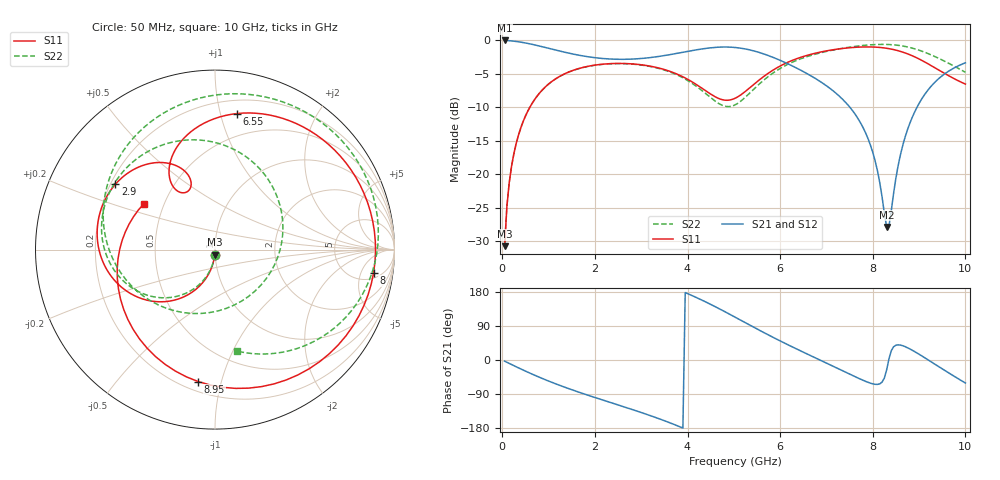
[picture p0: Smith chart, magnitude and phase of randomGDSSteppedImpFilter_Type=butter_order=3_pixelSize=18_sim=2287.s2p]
! freq	dB(S11)	phase(S11)	dB(S12)	phase(S12)
!  dB(S21)	phase(S21)	dB(S22)	phase(S22)
!S-par simulation data
#  GHz  S  DB  R 50
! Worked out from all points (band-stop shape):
!   200 points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, 50 MHz to 10 GHz, reference 50 ohm
!   highest |S21| = -0.01 dB at 50 MHz (marker M1); lowest = -27.9 dB at 8.3 GHz (marker M2)
!   |S21| within 3 dB of the highest: start of sweep to 6.011 GHz
!   lowest |S11| = -30.7 dB at 50 MHz (marker M3), VSWR 1.06, Z = 49.8 - j2.9 ohm
!   |S11| at or under -10 dB: start of sweep to 593.2 MHz
!   |S22| runs from -30.7 to -0.6 dB; largest |S21 - S12| = 0
!   S11 on the Smith chart (normalised r, x): 50 MHz: 1.00, -0.06; 2.9 GHz: 0.22, +0.28; 6.55 GHz: 0.31, +1.13; 8 GHz: 7, -9; 8.95 GHz: 0.26, -0.85; 10 GHz: 0.39, +0.25
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0.05  -30.71 -93.0  -0.01 -3.0  -0.01 -3.0  -30.71 -93.3
0.1  -24.71 -96.1  -0.02 -6.0  -0.02 -6.0  -24.72 -96.6
0.2  -18.78 -102.0  -0.08 -12.0  -0.08 -12.0  -18.79 -103.0
0.5  -11.29 -118.6  -0.38 -29.3  -0.38 -29.3  -11.29 -121.2
1.05  -6.23 -145.7  -1.26 -58.0  -1.26 -58.0  -6.24 -151.4
1.75  -4.02 -174.2  -2.33 -88.9  -2.33 -88.9  -4.03 175.3
2.9  -3.56 146.8  -2.75 -134.5  -2.75 -134.5  -3.59 123.6
3.4  -4.16 131.1  -2.37 -155.6  -2.37 -155.6  -4.22 97.5
4.35  -7.32 109.5  -1.23 155.8  -1.23 155.8  -7.70 24.0
5.05  -8.56 121.3  -1.07 111.6  -1.07 111.6  -9.54 -79.3
5.4  -6.75 122.9  -1.51 88.4  -1.51 88.4  -7.48 -129.0
5.85  -4.42 111.4  -2.54 59.6  -2.54 59.6  -4.85 -175.0
6.55  -2.29 80.7  -4.84 17.8  -4.84 17.8  -2.49 132.8
6.7  -2.01 73.2  -5.43 9.1  -5.43 9.1  -2.16 123.1
7.35  -1.20 36.8  -8.80 -28.5  -8.80 -28.5  -1.17 83.3
8  -0.98 -8.4  -16.71 -62.9  -16.71 -62.9  -0.63 43.6
8.3  -1.17 -33.4  -27.85 -25.8  -27.85 -25.8  -0.60 24.6
8.35  -1.23 -37.8  -27.70 3.3  -27.70 3.3  -0.61 21.4
8.6  -1.64 -61.3  -16.99 39.3  -16.99 39.3  -0.78 5.1
8.95  -2.60 -97.2  -10.04 18.9  -10.04 18.9  -1.35 -17.6
9.45  -4.52 -152.4  -5.55 -19.5  -5.55 -19.5  -2.76 -47.9
10  -6.52 147.4  -3.34 -60.7  -3.34 -60.7  -4.76 -77.7
